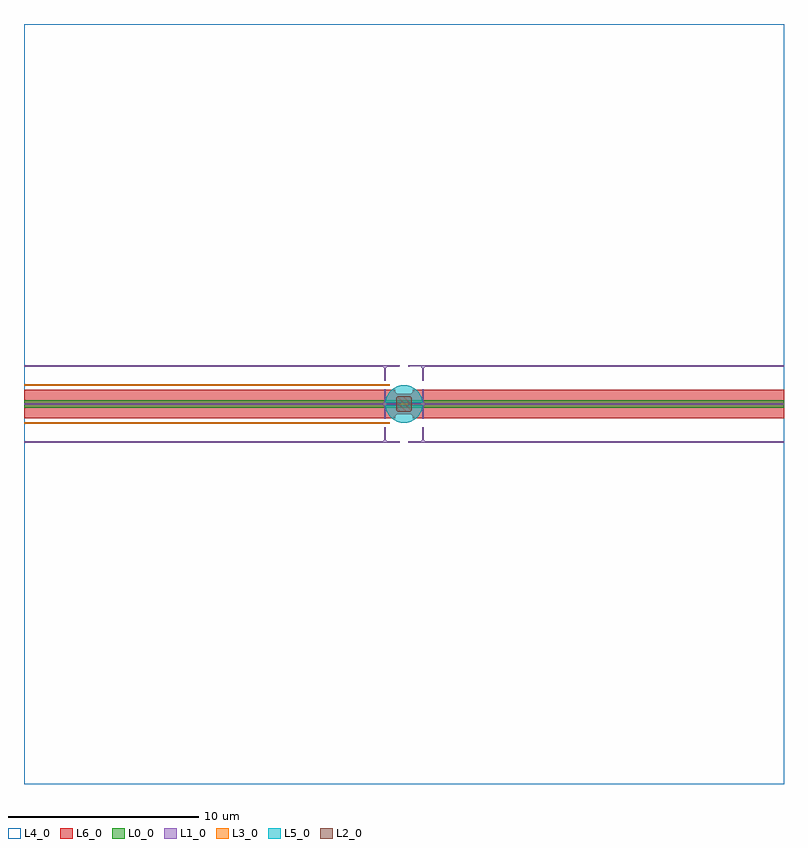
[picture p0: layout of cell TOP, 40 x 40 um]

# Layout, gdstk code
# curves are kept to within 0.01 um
import gdstk
lib = gdstk.Library(unit=1e-6, precision=1e-09)
def R(c, l, rs):  # rectangles x0, y0, x1, y1
    for r in rs: c.add(gdstk.rectangle(r[:2], r[2:], *l))
def P(c, l, *ps):  # polygons
    for p in ps: c.add(gdstk.Polygon(p, *l))
L0_0 = (0, 0)
L1_0 = (1, 0)
L2_0 = (2, 0)
L3_0 = (3, 0)
L4_0 = (4, 0)
L5_0 = (5, 0)
L6_0 = (6, 0)

top = lib.new_cell('TOP')
R(top, L0_0, [(-20,-0.194,20,0.194)])
P(top, L1_0, [(-19.957,-2.05),(-20,-2.007),(-19.987,-1.966),(-19.957,-1.95),(-1.113,-1.95),(-1.072,-1.933),(-1.051,-1.894),(-1.05,-1.268),(-1.007,-1.225),(-0.966,-1.238),(-0.95,-1.268),(-0.95,-1.887),(-0.928,-1.933),(-0.887,-1.95),(-0.268,-1.95),(-0.225,-1.993),(-0.238,-2.034),(-0.268,-2.05)],
  [(0.268,-2.05),(0.225,-2.007),(0.238,-1.966),(0.268,-1.95),(0.887,-1.95),(0.933,-1.928),(0.95,-1.887),(0.95,-1.268),(0.993,-1.225),(1.034,-1.238),(1.05,-1.268),(1.051,-1.894),(1.072,-1.933),(1.113,-1.95),(19.957,-1.95),(20,-1.993),(19.987,-2.034),(19.957,-2.05)],
  [(-1.007,-0.775),(-1.05,-0.732),(-1.051,-0.106),(-1.072,-0.067),(-1.113,-0.05),(-19.957,-0.05),(-19.987,-0.034),(-20,0.007),(-19.957,0.05),(-1.113,0.05),(-1.072,0.067),(-1.051,0.106),(-1.05,0.732),(-1.034,0.762),(-0.993,0.775),(-0.95,0.732),(-0.95,0.113),(-0.933,0.072),(-0.887,0.05),(-0.268,0.05),(-0.238,0.034),(-0.225,-0.007),(-0.268,-0.05),(-0.887,-0.05),(-0.928,-0.067),(-0.95,-0.113),(-0.95,-0.732),(-0.966,-0.762)],
  [(0.993,-0.775),(0.95,-0.732),(0.95,-0.113),(0.933,-0.072),(0.887,-0.05),(0.268,-0.05),(0.225,-0.007),(0.238,0.034),(0.268,0.05),(0.887,0.05),(0.933,0.072),(0.95,0.113),(0.95,0.732),(0.993,0.775),(1.034,0.762),(1.05,0.732),(1.051,0.106),(1.072,0.067),(1.113,0.05),(19.957,0.05),(20,0.007),(19.987,-0.034),(19.957,-0.05),(1.113,-0.05),(1.072,-0.067),(1.051,-0.106),(1.05,-0.732),(1.034,-0.762)],
  [(-1.007,1.225),(-1.05,1.268),(-1.051,1.894),(-1.072,1.933),(-1.113,1.95),(-19.957,1.95),(-19.987,1.966),(-20,2.007),(-19.957,2.05),(-0.268,2.05),(-0.225,2.007),(-0.238,1.966),(-0.268,1.95),(-0.887,1.95),(-0.933,1.928),(-0.95,1.887),(-0.95,1.268),(-0.966,1.238)],
  [(0.993,1.225),(0.95,1.268),(0.95,1.887),(0.933,1.928),(0.887,1.95),(0.268,1.95),(0.225,1.993),(0.238,2.034),(0.268,2.05),(19.957,2.05),(20,2.007),(19.987,1.966),(19.957,1.95),(1.113,1.95),(1.072,1.933),(1.051,1.894),(1.05,1.268),(1.034,1.238)])
P(top, L2_0, [(-0.305,-0.4),(-0.367,-0.374),(-0.4,-0.305),(-0.4,0.305),(-0.374,0.367),(-0.305,0.4),(0.305,0.4),(0.367,0.374),(0.4,0.305),(0.4,-0.305),(0.374,-0.367),(0.305,-0.4)])
P(top, L3_0, [(-19.957,-1.05),(-20,-1.007),(-19.987,-0.966),(-19.957,-0.95),(-0.793,-0.95),(-0.75,-0.993),(-0.763,-1.034),(-0.793,-1.05)],
  [(-19.957,0.95),(-20,0.993),(-19.987,1.034),(-19.957,1.05),(-0.793,1.05),(-0.75,1.007),(-0.763,0.966),(-0.793,0.95)])
R(top, L4_0, [(-20,-20,20,20)])
P(top, L5_0, [(-0.024,-0.99),(-0.169,-0.976),(-0.356,-0.924),(-0.53,-0.837),(-0.683,-0.717),(-0.81,-0.57),(-0.885,-0.445),(-0.954,-0.264),(-0.988,-0.065),(0.988,-0.065),(0.954,-0.264),(0.885,-0.445),(0.781,-0.609),(0.647,-0.75),(0.53,-0.837),(0.356,-0.924),(0.169,-0.976)],
  [(-0.988,0.065),(-0.954,0.264),(-0.885,0.445),(-0.81,0.57),(-0.683,0.717),(-0.53,0.837),(-0.356,0.924),(-0.169,0.976),(-0.024,0.99),(0.169,0.976),(0.356,0.924),(0.53,0.837),(0.647,0.75),(0.781,0.609),(0.885,0.445),(0.954,0.264),(0.988,0.073)])
P(top, L6_0, [(-20,-0.755),(-20,0.755),(-0.45,0.755),(-0.441,0.607),(-0.401,0.564),(-0.355,0.55),(0.374,0.553),(0.441,0.607),(0.45,0.755),(20,0.755),(20,-0.755),(0.45,-0.755),(0.441,-0.607),(0.401,-0.564),(0.355,-0.55),(-0.374,-0.553),(-0.441,-0.607),(-0.45,-0.755)])

lib.write_gds('TOP.gds')
